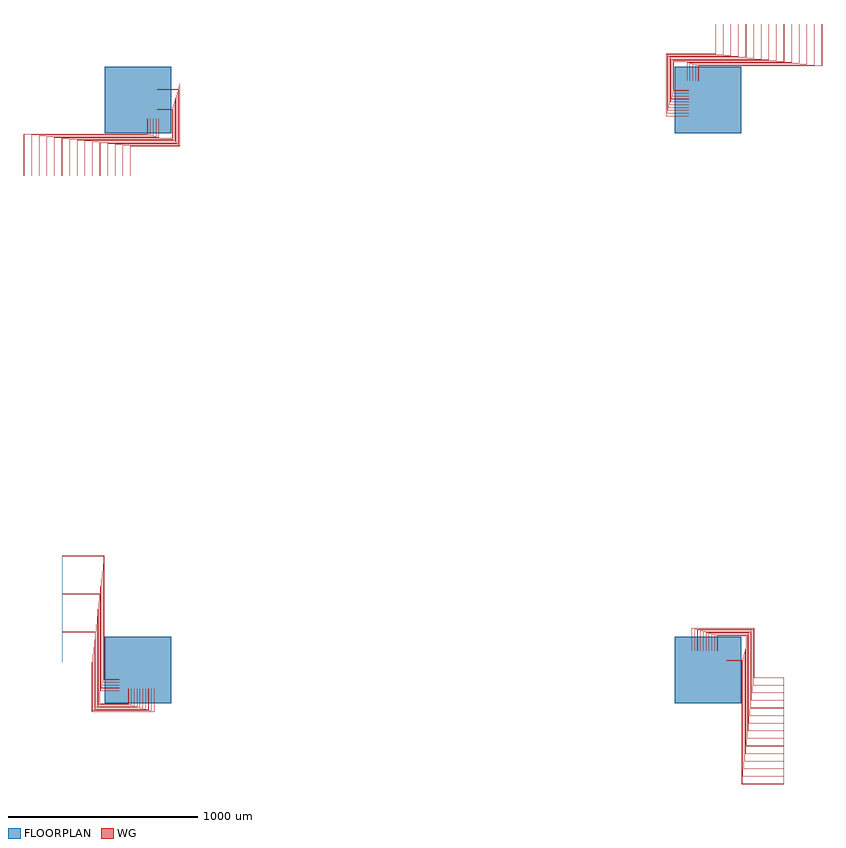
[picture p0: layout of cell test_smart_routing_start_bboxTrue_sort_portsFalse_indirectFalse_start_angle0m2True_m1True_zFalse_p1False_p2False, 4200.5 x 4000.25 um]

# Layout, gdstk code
import gdstk
lib = gdstk.Library(unit=1e-6, precision=1e-09)
def R(c, l, rs):  # rectangles x0, y0, x1, y1
    for r in rs: c.add(gdstk.rectangle(r[:2], r[2:], *l))
def P(c, l, *ps):  # polygons
    for p in ps: c.add(gdstk.Polygon(p, *l))
WG = (1, 0)
FLOORPLAN = (10, 0)

test_smart_routing_start = lib.new_cell('test_smart_routing_start_bboxTrue_sort_portsFalse_indirectFalse_start_angle0m2True_m1True_zFalse_p1False_p2False')
P(test_smart_routing_start, WG, [(-179.5,-50.25),(-179.5,599.75),(-400,599.75),(-400,600.25),(-179,600.25),(-179,-49.75),(-100,-49.75),(-100,-50.25)],
  [(-184,-65.25),(-184,559.75),(-400,559.75),(-400,560.25),(-183.5,560.25),(-183.5,-64.75),(-100,-64.75),(-100,-65.25)],
  [(-188.5,-80.25),(-188.5,519.75),(-400,519.75),(-400,520.25),(-188,520.25),(-188,-79.75),(-100,-79.75),(-100,-80.25)],
  [(-193,-95.25),(-193,479.75),(-400,479.75),(-400,480.25),(-192.5,480.25),(-192.5,-94.75),(-100,-94.75),(-100,-95.25)],
  [(-197.5,-110.25),(-197.5,439.75),(-400,439.75),(-400,440.25),(-197,440.25),(-197,-109.75),(-100,-109.75),(-100,-110.25)],
  [(-202,-179.5),(-202,399.75),(-400,399.75),(-400,400.25),(-201.5,400.25),(-201.5,-179),(-50.25,-179),(-50.25,-100),(-49.75,-100),(-49.75,-179.5)],
  [(-206.5,-184),(-206.5,359.75),(-400,359.75),(-400,360.25),(-206,360.25),(-206,-183.5),(-35.25,-183.5),(-35.25,-100),(-34.75,-100),(-34.75,-184)],
  [(-211,-188.5),(-211,319.75),(-400,319.75),(-400,320.25),(-210.5,320.25),(-210.5,-188),(-20.25,-188),(-20.25,-100),(-19.75,-100),(-19.75,-188.5)],
  [(-215.5,-193),(-215.5,279.75),(-400,279.75),(-400,280.25),(-215,280.25),(-215,-192.5),(-5.25,-192.5),(-5.25,-100),(-4.75,-100),(-4.75,-193)],
  [(-220,-197.5),(-220,239.75),(-400,239.75),(-400,240.25),(-219.5,240.25),(-219.5,-197),(9.75,-197),(9.75,-100),(10.25,-100),(10.25,-197.5)],
  [(-224.5,-202),(-224.5,199.75),(-400,199.75),(-400,200.25),(-224,200.25),(-224,-201.5),(24.75,-201.5),(24.75,-100),(25.25,-100),(25.25,-202)],
  [(-229,-206.5),(-229,159.75),(-400,159.75),(-400,160.25),(-228.5,160.25),(-228.5,-206),(39.75,-206),(39.75,-100),(40.25,-100),(40.25,-206.5)],
  [(-233.5,-211),(-233.5,119.75),(-400,119.75),(-400,120.25),(-233,120.25),(-233,-210.5),(54.75,-210.5),(54.75,-100),(55.25,-100),(55.25,-211)],
  [(-238,-215.5),(-238,79.75),(-400,79.75),(-400,80.25),(-237.5,80.25),(-237.5,-215),(69.75,-215),(69.75,-100),(70.25,-100),(70.25,-215.5)],
  [(-242.5,-220),(-242.5,39.75),(-400,39.75),(-400,40.25),(-242,40.25),(-242,-219.5),(84.75,-219.5),(84.75,-100),(85.25,-100),(85.25,-220)],
  [(-600.25,2600),(-600.25,2821),(49.75,2821),(49.75,2900),(50.25,2900),(50.25,2820.5),(-599.75,2820.5),(-599.75,2600)],
  [(-560.25,2600),(-560.25,2816.5),(64.75,2816.5),(64.75,2900),(65.25,2900),(65.25,2816),(-559.75,2816),(-559.75,2600)],
  [(-520.25,2600),(-520.25,2812),(79.75,2812),(79.75,2900),(80.25,2900),(80.25,2811.5),(-519.75,2811.5),(-519.75,2600)],
  [(-480.25,2600),(-480.25,2807.5),(94.75,2807.5),(94.75,2900),(95.25,2900),(95.25,2807),(-479.75,2807),(-479.75,2600)],
  [(-440.25,2600),(-440.25,2803),(109.75,2803),(109.75,2900),(110.25,2900),(110.25,2802.5),(-439.75,2802.5),(-439.75,2600)],
  [(-400.25,2600),(-400.25,2798.5),(179,2798.5),(179,2949.75),(100,2949.75),(100,2950.25),(179.5,2950.25),(179.5,2798),(-399.75,2798),(-399.75,2600)],
  [(-360.25,2600),(-360.25,2794),(183.5,2794),(183.5,2964.75),(100,2964.75),(100,2965.25),(184,2965.25),(184,2793.5),(-359.75,2793.5),(-359.75,2600)],
  [(-320.25,2600),(-320.25,2789.5),(188,2789.5),(188,2979.75),(100,2979.75),(100,2980.25),(188.5,2980.25),(188.5,2789),(-319.75,2789),(-319.75,2600)],
  [(-280.25,2600),(-280.25,2785),(192.5,2785),(192.5,2994.75),(100,2994.75),(100,2995.25),(193,2995.25),(193,2784.5),(-279.75,2784.5),(-279.75,2600)],
  [(-240.25,2600),(-240.25,2780.5),(197,2780.5),(197,3009.75),(100,3009.75),(100,3010.25),(197.5,3010.25),(197.5,2780),(-239.75,2780),(-239.75,2600)],
  [(-200.25,2600),(-200.25,2776),(201.5,2776),(201.5,3024.75),(100,3024.75),(100,3025.25),(202,3025.25),(202,2775.5),(-199.75,2775.5),(-199.75,2600)],
  [(-160.25,2600),(-160.25,2771.5),(206,2771.5),(206,3039.75),(100,3039.75),(100,3040.25),(206.5,3040.25),(206.5,2771),(-159.75,2771),(-159.75,2600)],
  [(-120.25,2600),(-120.25,2767),(210.5,2767),(210.5,3054.75),(100,3054.75),(100,3055.25),(211,3055.25),(211,2766.5),(-119.75,2766.5),(-119.75,2600)],
  [(-80.25,2600),(-80.25,2762.5),(215,2762.5),(215,3069.75),(100,3069.75),(100,3070.25),(215.5,3070.25),(215.5,2762),(-79.75,2762),(-79.75,2600)],
  [(-40.25,2600),(-40.25,2758),(219.5,2758),(219.5,3084.75),(100,3084.75),(100,3085.25),(220,3085.25),(220,2757.5),(-39.75,2757.5),(-39.75,2600)],
  [(3179,-600.25),(3179,49.75),(3100,49.75),(3100,50.25),(3179.5,50.25),(3179.5,-599.75),(3400,-599.75),(3400,-600.25)],
  [(3183.5,-560.25),(3183.5,64.75),(3100,64.75),(3100,65.25),(3184,65.25),(3184,-559.75),(3400,-559.75),(3400,-560.25)],
  [(3188,-520.25),(3188,79.75),(3100,79.75),(3100,80.25),(3188.5,80.25),(3188.5,-519.75),(3400,-519.75),(3400,-520.25)],
  [(3192.5,-480.25),(3192.5,94.75),(3100,94.75),(3100,95.25),(3193,95.25),(3193,-479.75),(3400,-479.75),(3400,-480.25)],
  [(3197,-440.25),(3197,109.75),(3100,109.75),(3100,110.25),(3197.5,110.25),(3197.5,-439.75),(3400,-439.75),(3400,-440.25)],
  [(3201.5,-400.25),(3201.5,179),(3050.25,179),(3050.25,100),(3049.75,100),(3049.75,179.5),(3202,179.5),(3202,-399.75),(3400,-399.75),(3400,-400.25)],
  [(3206,-360.25),(3206,183.5),(3035.25,183.5),(3035.25,100),(3034.75,100),(3034.75,184),(3206.5,184),(3206.5,-359.75),(3400,-359.75),(3400,-360.25)],
  [(3210.5,-320.25),(3210.5,188),(3020.25,188),(3020.25,100),(3019.75,100),(3019.75,188.5),(3211,188.5),(3211,-319.75),(3400,-319.75),(3400,-320.25)],
  [(3215,-280.25),(3215,192.5),(3005.25,192.5),(3005.25,100),(3004.75,100),(3004.75,193),(3215.5,193),(3215.5,-279.75),(3400,-279.75),(3400,-280.25)],
  [(3219.5,-240.25),(3219.5,197),(2990.25,197),(2990.25,100),(2989.75,100),(2989.75,197.5),(3220,197.5),(3220,-239.75),(3400,-239.75),(3400,-240.25)],
  [(3224,-200.25),(3224,201.5),(2975.25,201.5),(2975.25,100),(2974.75,100),(2974.75,202),(3224.5,202),(3224.5,-199.75),(3400,-199.75),(3400,-200.25)],
  [(3228.5,-160.25),(3228.5,206),(2960.25,206),(2960.25,100),(2959.75,100),(2959.75,206.5),(3229,206.5),(3229,-159.75),(3400,-159.75),(3400,-160.25)],
  [(3233,-120.25),(3233,210.5),(2945.25,210.5),(2945.25,100),(2944.75,100),(2944.75,211),(3233.5,211),(3233.5,-119.75),(3400,-119.75),(3400,-120.25)],
  [(3237.5,-80.25),(3237.5,215),(2930.25,215),(2930.25,100),(2929.75,100),(2929.75,215.5),(3238,215.5),(3238,-79.75),(3400,-79.75),(3400,-80.25)],
  [(3242,-40.25),(3242,219.5),(2915.25,219.5),(2915.25,100),(2914.75,100),(2914.75,220),(3242.5,220),(3242.5,-39.75),(3400,-39.75),(3400,-40.25)],
  [(2949.75,3100),(2949.75,3179.5),(3599.75,3179.5),(3599.75,3400),(3600.25,3400),(3600.25,3179),(2950.25,3179),(2950.25,3100)],
  [(2934.75,3100),(2934.75,3184),(3559.75,3184),(3559.75,3400),(3560.25,3400),(3560.25,3183.5),(2935.25,3183.5),(2935.25,3100)],
  [(2919.75,3100),(2919.75,3188.5),(3519.75,3188.5),(3519.75,3400),(3520.25,3400),(3520.25,3188),(2920.25,3188),(2920.25,3100)],
  [(2904.75,3100),(2904.75,3193),(3479.75,3193),(3479.75,3400),(3480.25,3400),(3480.25,3192.5),(2905.25,3192.5),(2905.25,3100)],
  [(2889.75,3100),(2889.75,3197.5),(3439.75,3197.5),(3439.75,3400),(3440.25,3400),(3440.25,3197),(2890.25,3197),(2890.25,3100)],
  [(2820.5,3049.75),(2820.5,3202),(3399.75,3202),(3399.75,3400),(3400.25,3400),(3400.25,3201.5),(2821,3201.5),(2821,3050.25),(2900,3050.25),(2900,3049.75)],
  [(2816,3034.75),(2816,3206.5),(3359.75,3206.5),(3359.75,3400),(3360.25,3400),(3360.25,3206),(2816.5,3206),(2816.5,3035.25),(2900,3035.25),(2900,3034.75)],
  [(2811.5,3019.75),(2811.5,3211),(3319.75,3211),(3319.75,3400),(3320.25,3400),(3320.25,3210.5),(2812,3210.5),(2812,3020.25),(2900,3020.25),(2900,3019.75)],
  [(2807,3004.75),(2807,3215.5),(3279.75,3215.5),(3279.75,3400),(3280.25,3400),(3280.25,3215),(2807.5,3215),(2807.5,3005.25),(2900,3005.25),(2900,3004.75)],
  [(2802.5,2989.75),(2802.5,3220),(3239.75,3220),(3239.75,3400),(3240.25,3400),(3240.25,3219.5),(2803,3219.5),(2803,2990.25),(2900,2990.25),(2900,2989.75)],
  [(2798,2974.75),(2798,3224.5),(3199.75,3224.5),(3199.75,3400),(3200.25,3400),(3200.25,3224),(2798.5,3224),(2798.5,2975.25),(2900,2975.25),(2900,2974.75)],
  [(2793.5,2959.75),(2793.5,3229),(3159.75,3229),(3159.75,3400),(3160.25,3400),(3160.25,3228.5),(2794,3228.5),(2794,2960.25),(2900,2960.25),(2900,2959.75)],
  [(2789,2944.75),(2789,3233.5),(3119.75,3233.5),(3119.75,3400),(3120.25,3400),(3120.25,3233),(2789.5,3233),(2789.5,2945.25),(2900,2945.25),(2900,2944.75)],
  [(2784.5,2929.75),(2784.5,3238),(3079.75,3238),(3079.75,3400),(3080.25,3400),(3080.25,3237.5),(2785,3237.5),(2785,2930.25),(2900,2930.25),(2900,2929.75)],
  [(2780,2914.75),(2780,3242.5),(3039.75,3242.5),(3039.75,3400),(3040.25,3400),(3040.25,3242),(2780.5,3242),(2780.5,2915.25),(2900,2915.25),(2900,2914.75)])
R(test_smart_routing_start, FLOORPLAN, [(-175,-175,175,175), (2825,-175,3175,175), (-175,2825,175,3175), (2825,2825,3175,3175)])
P(test_smart_routing_start, FLOORPLAN, [(-400,40),(-400,600),(-400,600),(-400,40)],
  [(-600,2600),(-600,2600),(-40,2600),(-40,2600)],
  [(3400,-600),(3400,-40),(3400,-40),(3400,-600)],
  [(3040,3400),(3040,3400),(3600,3400),(3600,3400)])

lib.write_gds('test_smart_routing_start_bboxTrue_sort_portsFalse_indirectFalse_start_angle0m2True_m1True_zFalse_p1False_p2False.gds')
